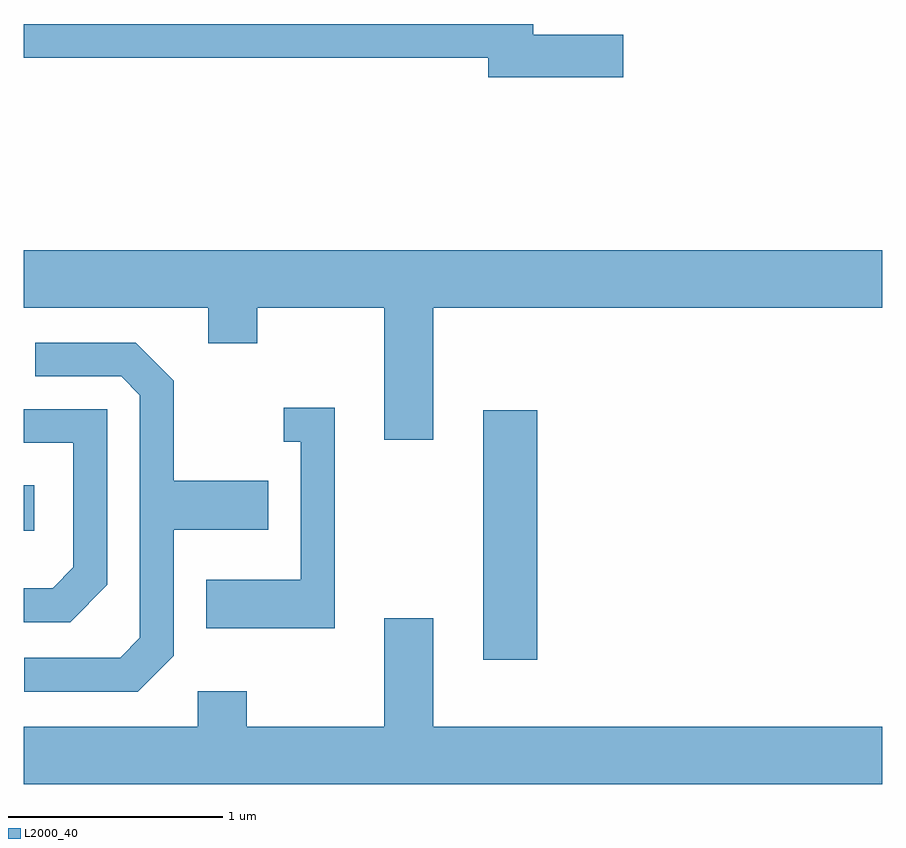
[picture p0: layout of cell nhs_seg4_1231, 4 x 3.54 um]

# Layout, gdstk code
import gdstk
lib = gdstk.Library(unit=1e-6, precision=1e-09)
def R(c, l, rs):  # rectangles x0, y0, x1, y1
    for r in rs: c.add(gdstk.rectangle(r[:2], r[2:], *l))
def P(c, l, *ps):  # polygons
    for p in ps: c.add(gdstk.Polygon(p, *l))
L2000_40 = (2000, 40)

nhs_seg4_1231 = lib.new_cell('nhs_seg4_1231')
R(nhs_seg4_1231, L2000_40, [(223.751,1268.676,224.004,1269.839), (221.611,1269.276,221.659,1269.489)])
P(nhs_seg4_1231, L2000_40, [(224.404,1271.589),(223.984,1271.589),(223.984,1271.639),(221.611,1271.639),(221.611,1271.481),(223.776,1271.481),(223.776,1271.391),(224.404,1271.391)],
  [(223.519,1270.316),(225.611,1270.316),(225.611,1270.584),(221.611,1270.584),(221.611,1270.316),(222.471,1270.316),(222.471,1270.151),(222.699,1270.151),(222.699,1270.316),(223.291,1270.316),(223.291,1269.701),(223.519,1269.701)],
  [(222.309,1268.694),(222.309,1269.281),(222.749,1269.281),(222.749,1269.509),(222.309,1269.509),(222.309,1269.977),(222.132,1270.154),(221.663,1270.154),(221.663,1269.996),(222.064,1269.996),(222.151,1269.909),(222.151,1268.777),(222.059,1268.684),(221.613,1268.684),(221.613,1268.526),(222.142,1268.526)],
  [(223.059,1269.849),(222.823,1269.849),(222.823,1269.691),(222.901,1269.691),(222.901,1269.049),(222.461,1269.049),(222.461,1268.821),(223.059,1268.821)],
  [(221.999,1269.024),(221.999,1269.844),(221.611,1269.844),(221.611,1269.686),(221.841,1269.686),(221.841,1269.107),(221.744,1269.009),(221.611,1269.009),(221.611,1268.851),(221.827,1268.851)],
  [(225.611,1268.364),(223.519,1268.364),(223.519,1268.869),(223.291,1268.869),(223.291,1268.364),(222.649,1268.364),(222.649,1268.529),(222.421,1268.529),(222.421,1268.364),(221.611,1268.364),(221.611,1268.096),(225.611,1268.096)])

lib.write_gds('nhs_seg4_1231.gds')
